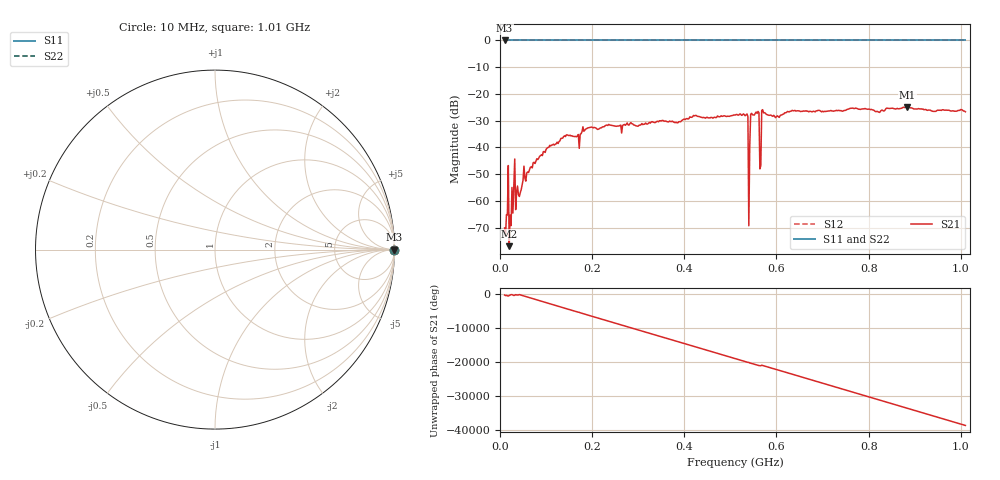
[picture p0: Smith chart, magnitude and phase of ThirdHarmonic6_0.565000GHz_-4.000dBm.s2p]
! 8/15/2025 6:03:51 PM
! C:\ANRITSUVNA\TEMP\TEMP.S2P
! CHANNEL.1
! TR.MEASUREMENT
! RAW.DATA
! RF.CORRECTION.OFF
! AVERAGING.OFF
! IF.BANDWIDTH: 5KHZ
! SWEEPTYPE:  FREQ.SWEEP(Linear)
! Reference Plane Port Info
! PORT:  PORT1  PORT2
! DISTANCE:  0  m  0  m
! TIME:  0  s  0  s
! PHASE.OFFSET:  0  deg.  0  deg.
! LOSS:  0  dB  0  dB
! REF.LOSS:  0  dB  0  dB
! REF.FREQ:  0  Hz  0  Hz
! Power Info
! POWER:  -20  dBm  -20  dBm
! EFF.POWER:  -20  dBm  -20  dBm
! SOURCE.ATTEN:  0  dB  0  dB
! TEST.ATTEN:  0  dB  0  dB
# GHZ S RI R 50.0
! FREQ.GHZ  S11RE  S11IM  S21RE  S21IM  S12RE  S12IM  S22RE  S22IM
!; PortSelection: Port_12
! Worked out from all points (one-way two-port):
!   501 points, 10 MHz to 1.01 GHz, reference 50 ohm
!   highest |S21| = -24.83 dB at 884 MHz (marker M1); lowest = -76.9 dB at 20 MHz (marker M2)
!   lowest |S11| = 0.0 dB at 10 MHz (marker M3)
!   |S11| at or under -10 dB: nowhere
!   |S22| runs from 0.0 to 0.0 dB; largest |S21 - S12| = 1.1
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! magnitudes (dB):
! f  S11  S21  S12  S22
! 10 MHz  0.0  -70.1  0.0  0.0
! 20 MHz  0.0  -76.9  0.0  0.0
! 24 MHz  0.0  -69.2  0.0  0.0
! 28 MHz  0.0  -64.5  0.0  0.0
! 34 MHz  0.0  -63.2  0.0  0.0
! 38 MHz  0.0  -54.4  0.0  0.0
! 76 MHz  0.0  -46.0  0.0  0.0
! 178 MHz  0.0  -34.1  0.0  0.0
! 344 MHz  0.0  -30.4  0.0  0.0
! 510 MHz  0.0  -27.9  0.0  0.0
! 534 MHz  0.0  -27.8  0.0  0.0
! 538 MHz  0.0  -28.4  0.0  0.0
! 544 MHz  0.0  -27.6  0.0  0.0
! 548 MHz  0.0  -27.8  0.0  0.0
! 558 MHz  0.0  -27.3  0.0  0.0
! 562 MHz  0.0  -27.0  0.0  0.0
! 568 MHz  0.0  -26.2  0.0  0.0
! 572 MHz  0.0  -27.0  0.0  0.0
! 678 MHz  0.0  -26.6  0.0  0.0
! 844 MHz  0.0  -25.4  0.0  0.0
! 884 MHz  0.0  -24.8  0.0  0.0
! 1.01 GHz  0.0  -26.7  0.0  0.0
